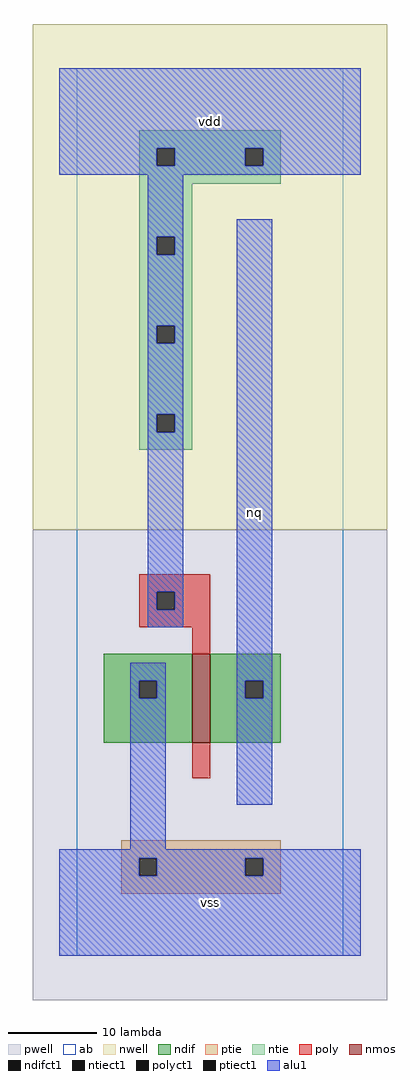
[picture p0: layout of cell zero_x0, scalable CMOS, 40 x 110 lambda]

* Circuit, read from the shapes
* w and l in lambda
.subckt zero_x0 nq vdd vss
M1 nq vdd vss vss nfet w=10 l=2
.ends

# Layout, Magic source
magic
tech scmos
<< ab >>
rect 0 0 30 100
<< nwell >>
rect -5 48 35 105
<< pwell >>
rect -5 -5 35 48
<< poly >>
rect 7 41 15 43
rect 7 39 9 41
rect 11 39 15 41
rect 7 37 15 39
rect 13 34 15 37
rect 13 20 15 24
<< ndif >>
rect 3 31 13 34
rect 3 29 7 31
rect 9 29 13 31
rect 3 24 13 29
rect 15 31 23 34
rect 15 29 19 31
rect 21 29 23 31
rect 15 24 23 29
<< alu1 >>
rect -2 91 32 100
rect -2 89 9 91
rect 11 89 19 91
rect 21 89 32 91
rect -2 88 32 89
rect 8 81 12 88
rect 8 79 9 81
rect 11 79 12 81
rect 8 71 12 79
rect 8 69 9 71
rect 11 69 12 71
rect 8 61 12 69
rect 8 59 9 61
rect 11 59 12 61
rect 8 41 12 59
rect 8 39 9 41
rect 11 39 12 41
rect 8 37 12 39
rect 6 31 10 33
rect 6 29 7 31
rect 9 29 10 31
rect 6 12 10 29
rect 18 31 22 83
rect 18 29 19 31
rect 21 29 22 31
rect 18 17 22 29
rect -2 11 32 12
rect -2 9 7 11
rect 9 9 19 11
rect 21 9 32 11
rect -2 0 32 9
<< ptie >>
rect 5 11 23 13
rect 5 9 7 11
rect 9 9 19 11
rect 21 9 23 11
rect 5 7 23 9
<< ntie >>
rect 7 91 23 93
rect 7 89 9 91
rect 11 89 19 91
rect 21 89 23 91
rect 7 87 23 89
rect 7 81 13 87
rect 7 79 9 81
rect 11 79 13 81
rect 7 71 13 79
rect 7 69 9 71
rect 11 69 13 71
rect 7 61 13 69
rect 7 59 9 61
rect 11 59 13 61
rect 7 57 13 59
<< nmos >>
rect 13 24 15 34
<< polyct1 >>
rect 9 39 11 41
<< ndifct1 >>
rect 7 29 9 31
rect 19 29 21 31
<< ntiect1 >>
rect 9 89 11 91
rect 19 89 21 91
rect 9 79 11 81
rect 9 69 11 71
rect 9 59 11 61
<< ptiect1 >>
rect 7 9 9 11
rect 19 9 21 11
<< labels >>
rlabel alu1 15 6 15 6 6 vss
rlabel alu1 15 94 15 94 6 vdd
rlabel alu1 20 50 20 50 6 nq
<< end >>
